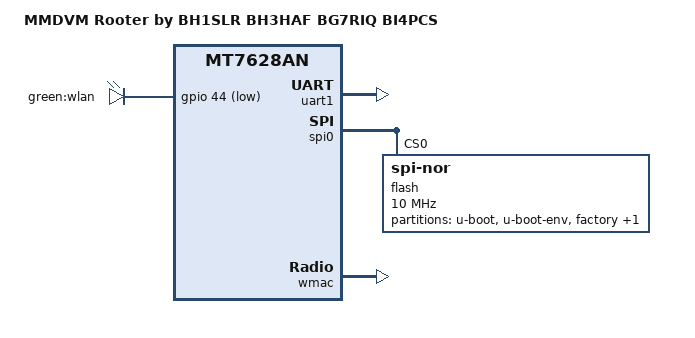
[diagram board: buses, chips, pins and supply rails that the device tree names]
// SPDX-License-Identifier: GPL-2.0-or-later OR MIT

#include "mt7628an.dtsi"

#include <dt-bindings/gpio/gpio.h>
#include <dt-bindings/input/input.h>

/ {
	compatible = "hilink,hlk-7628n", "mediatek,mt7628an-soc";
	model = "MMDVM Rooter by BH1SLR BH3HAF BG7RIQ BI4PCS";

	aliases {
		led-boot = &wlan;
		led-failsafe = &wlan;
		led-upgrade = &lwlan;
	};

	chosen {
		bootargs = "console=ttyS0,115200";
	};

	leds {
		compatible = "gpio-leds";

		wlan {
			label = "green:wlan";
			gpios = <&gpio 44 GPIO_ACTIVE_LOW>;
		};
	};

	leds {
		compatible = "gpio-leds";

		wlan {
			label = "green:wlan";
			gpios = <&gpio 44 GPIO_ACTIVE_LOW>;
		};
	};
};

&state_default {
	gpio {
		groups = "i2c";
		function = "gpio";
	};
};

&uart1 {
	status = "okay";
};

&spi0 {
	status = "okay";

	flash@0 {
		compatible = "jedec,spi-nor";
		reg = <0>;
		spi-max-frequency = <10000000>;

		partitions {
			compatible = "fixed-partitions";
			#address-cells = <1>;
			#size-cells = <1>;

			partition@0 {
				label = "u-boot";
				reg = <0x0 0x30000>;
				read-only;
			};

			partition@30000 {
				label = "u-boot-env";
				reg = <0x30000 0x10000>;
				read-only;
			};

			factory: partition@40000 {
				label = "factory";
				reg = <0x40000 0x10000>;
				read-only;
			};

			partition@50000 {
				compatible = "denx,uimage";
				label = "firmware";
				reg = <0x50000 0x1fb0000>;
			};
		};
	};
};

&ethernet {
	mtd-mac-address = <&factory 0x28>;
};

&wmac {
	status = "okay";
};
